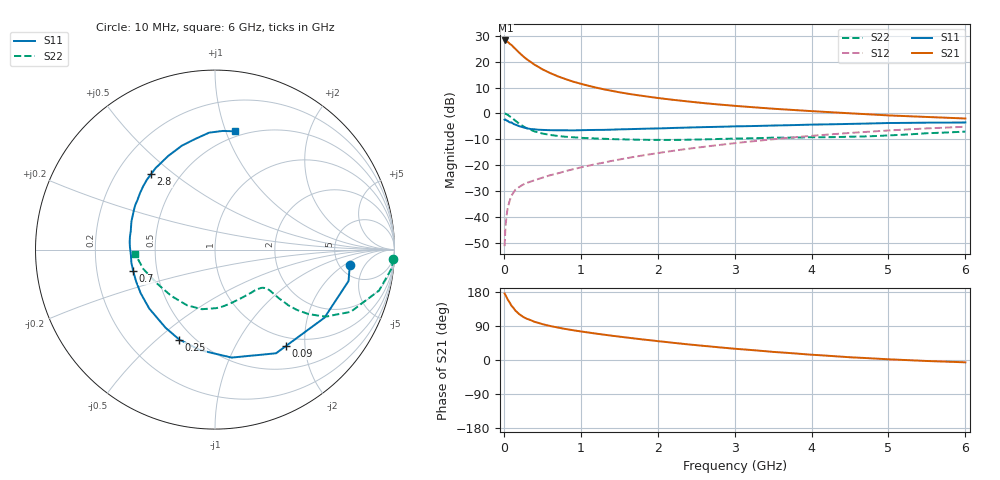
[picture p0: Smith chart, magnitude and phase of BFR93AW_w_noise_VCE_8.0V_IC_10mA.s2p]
! (c) 2017  Infineon Technologies AG, Munich
! Infineon Technologies  Discrete & RF Semiconductors
! BFR93AW
! VCE =  8.0 V,  IC =  10 mA
! Common Emitter S-Parameters:  Jan 2017
# GHz  S  MA  R  50
!  f  S11  S21  S12  S22
! GHz  MAG  ANG  MAG  ANG  MAG  ANG  MAG  ANG
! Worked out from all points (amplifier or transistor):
!   77 points, 10 MHz to 6 GHz, reference 50 ohm
!   highest |S21| = 28.2 dB at 20 MHz (marker M1)
!   |S21| within 3 dB of that: start of sweep to 140.9 MHz
!   unconditionally stable (mu >= 1): 870.9 MHz to 2.101 GHz
!   at 130 MHz: K = 0.30, MSG = 28.0 dB, |S12| = -30.4 dB
!   at 2.2 GHz: K = 0.99, MSG = 9.9 dB, |S12| = -14.5 dB
!   at 6 GHz: K = 0.86, MSG = 1.6 dB, |S12| = -5.2 dB
!   lowest NFmin = 1.25 dB at 450 MHz
!   S11 on the Smith chart (normalised r, x): 10 MHz: 6.16, -2.49; 90 MHz: 0.85, -1.64; 250 MHz: 0.42, -0.59; 700 MHz: 0.36, -0.11; 2.8 GHz: 0.35, +0.42; 6 GHz: 0.45, +1.08
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0.01  0.7558 -6.6  25.61 175.5  0.0027 88.7  0.9936 -2.9
0.02  0.7644 -13.2  25.82 171.6  0.0059 93.0  0.9902 -6.0
0.05  0.7183 -31.9  24.26 159.7  0.0148 74.2  0.9422 -14.0
0.09  0.6669 -53.8  21.55 146.7  0.0235 65.8  0.8515 -22.3
0.1  0.6703 -59.5  21.07 143.0  0.0257 64.6  0.8319 -24.6
0.15  0.6088 -81.2  17.75 130.4  0.0332 57.3  0.7217 -31.2
0.2  0.5664 -98.3  14.96 121.1  0.0377 54.9  0.6329 -34.6
0.25  0.5391 -111.7  12.81 113.9  0.042 52.3  0.5653 -36.4
0.3  0.5153 -122.3  11.11 108.7  0.0453 51.0  0.5144 -37.2
0.4  0.4921 -138.1  8.752 100.6  0.051 52.8  0.4485 -37.3
0.5  0.4801 -149.6  7.153 94.7  0.057 54.5  0.4087 -37.0
0.6  0.474 -158.1  6.063 89.8  0.0635 56.3  0.3839 -36.7
0.7  0.4713 -165.1  5.24 85.7  0.0691 58.0  0.3663 -36.8
0.9  0.4695 -176.3  4.127 78.6  0.0832 61.0  0.3453 -38.1
1.1  0.4772 175.0  3.429 72.5  0.0973 63.3  0.332 -40.3
1.5  0.4913 161.4  2.57 61.7  0.1282 65.1  0.3157 -47.5
2.1  0.5171 145.4  1.91 47.7  0.1797 64.6  0.3072 -62.8
2.8  0.5514 130.2  1.486 33.4  0.2452 61.3  0.3208 -83.2
3.1  0.5649 124.1  1.367 28.2  0.2753 58.8  0.3275 -91.6
4.1  0.6107 106.1  1.087 12.7  0.3784 49.4  0.3463 -120.1
5.1  0.6538 91.5  0.903 1.0  0.4765 37.9  0.3812 -153.5
6  0.668 80.5  0.798 -6.2  0.5525 26.8  0.4456 -177.0
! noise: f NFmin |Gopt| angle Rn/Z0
0.45  1.25  0.15  94  0.13
0.9  1.55  0.24  150  0.14
1.9  2.61  0.47  -148  0.18
2.4  3.24  0.54  -131  0.36
